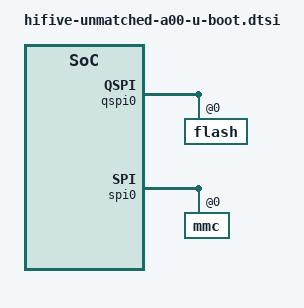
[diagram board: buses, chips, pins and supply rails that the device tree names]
// SPDX-License-Identifier: (GPL-2.0 OR MIT)
/*
 * Copyright (C) 2020-2021 SiFive, Inc
 */

#include "binman.dtsi"
#include "fu740-c000-u-boot.dtsi"
#include "fu740-hifive-unmatched-a00-ddr.dtsi"

/ {
	aliases {
		spi0 = &spi0;
	};

	memory@80000000 {
		u-boot,dm-spl;
	};

	config {
		u-boot,spl-payload-offset = <0x105000>; /* loader2 @1044KB */
	};

	hfclk {
		u-boot,dm-spl;
	};

	rtcclk {
		u-boot,dm-spl;
	};

};

&clint {
	clocks = <&rtcclk>;
};

&qspi0 {
	u-boot,dm-spl;
	flash@0 {
		u-boot,dm-spl;
	};
};

&spi0 {
	mmc@0 {
		u-boot,dm-spl;
	};
};

&gpio {
	u-boot,dm-spl;
};
